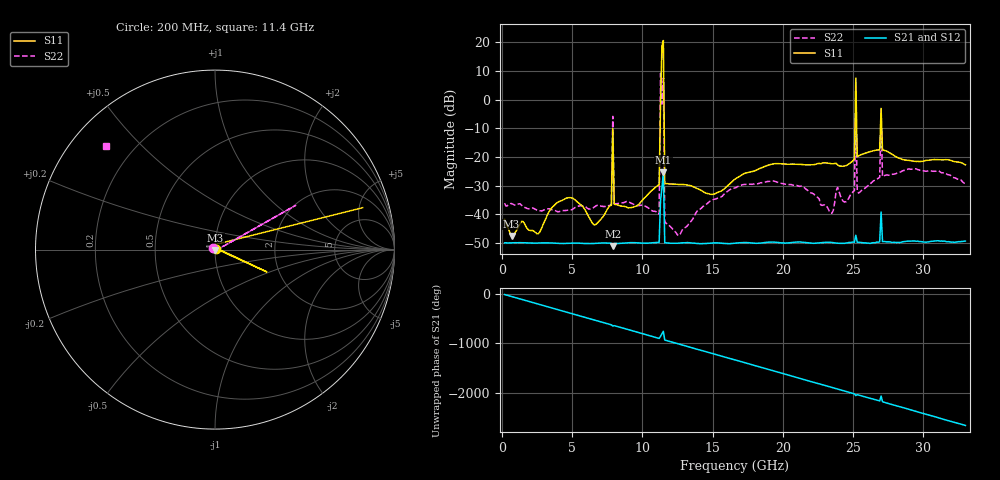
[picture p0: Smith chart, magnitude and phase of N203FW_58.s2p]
# GHZ S RI R 50
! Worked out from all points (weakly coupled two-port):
!   329 points, 200 MHz to 33 GHz, reference 50 ohm
!   highest |S21| = -25.40 dB at 11.5 GHz (marker M1); lowest = -51.1 dB at 7.9 GHz (marker M2)
!   lowest |S11| = -47.5 dB at 700 MHz (marker M3), VSWR 1.01, Z = 50.2 - j0.371 ohm
!   |S11| at or under -10 dB: start of sweep to 11.27 GHz; 11.56 GHz to 25.14 GHz (13.58 GHz wide, 74 % of centre); 27.05 GHz to end of sweep (the widest 3 of 4)
!   |S22| runs from -47.4 to 9.2 dB; largest |S21 - S12| = 0.011
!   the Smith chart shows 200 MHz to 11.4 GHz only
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0.2  0.00667 0.00455  0.00305 -0.000895  0.00306 -0.000888  -0.0133 0.00816
0.7  0.00201 -0.0037  0.00177 -0.00264  0.00177 -0.00264  -0.0124 0.00906
5.7  0.00743 0.0121  -0.000438 -0.00309  -0.000455 -0.00309  0.00771 -0.0117
7.8  -0.00888 0.0114  -0.000206 0.00311  -0.000214 0.00312  -0.00809 -0.0125
7.9  0.289 -0.1244  0.000903 0.00263  0.000902 0.00252  0.4493 0.2467
8  -0.00464 0.0142  0.000655 0.00303  0.000655 0.00304  -0.00969 -0.0121
11.2  0.0114 0.0307  -0.00323 -5.54e-05  -0.00323 -6.04e-05  -0.0087 0.00497
11.3  0.8227 0.2334  -0.0126 -0.0123  -0.0132 -0.009  0.4809 2.837
11.4  4.785 7.334  0.00334 -0.0285  0.00218 -0.0275  -0.6054 0.5768
11.5  10.01 -4.076  0.0437 -0.0312  0.0428 -0.032  -0.1798 -2.379
11.6  0.0304 0.0155  -0.00271 0.0017  -0.00271 0.0017  -0.00651 0.00365
16.6  -0.0332 0.024  -0.00105 0.00295  -0.00104 0.00295  -0.0285 0.00434
22.1  -0.0297 -0.0668  0.00282 0.00135  0.00283 0.00135  0.0215 0.00906
23.5  0.00776 0.0757  0.000153 -0.00322  0.000141 -0.00323  0.00924 -0.00482
25.1  -0.0398 -0.083  -0.00268 0.00182  -0.00272 0.00183  -0.024 -0.00964
25.2  2.305 0.6443  -0.00155 0.00403  -0.00136 0.00407  0.274 0.5396
25.3  -0.0768 -0.066  -0.00209 0.00251  -0.00207 0.0025  -0.0249 -0.00443
26.9  0.0625 0.1177  0.00332 0.000193  0.00328 0.000161  -0.0396 0.0196
27  -0.5868 0.3905  -0.00215 0.0108  -0.00103 -0.000263  0.3716 -0.2802
27.1  0.0993 0.0879  0.00324 -0.000779  0.00323 -0.000799  -0.0383 0.0248
27.6  0.1164 -0.024  0.00184 -0.00275  0.00189 -0.00271  -0.0341 0.0338
33  0.0194 0.0704  -0.0022 -0.00261  -0.0022 -0.00259  0.0335 0.00799
